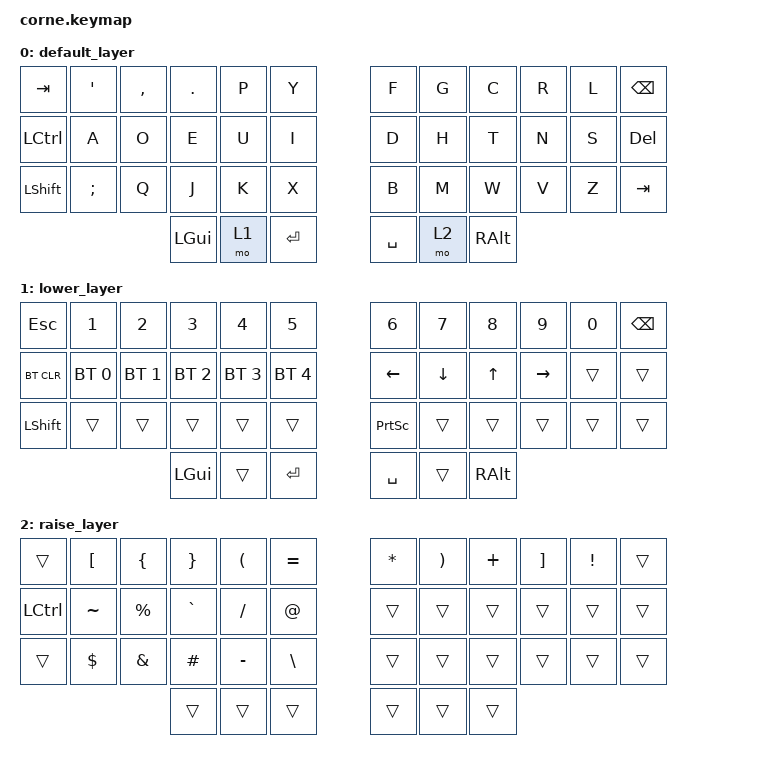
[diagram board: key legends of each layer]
/*
 * Copyright (c) 2020 The ZMK Contributors
 *
 * SPDX-License-Identifier: MIT
 */

#include <behaviors.dtsi>
#include <dt-bindings/zmk/keys.h>
#include <dt-bindings/zmk/bt.h>

/ {
        keymap {
                compatible = "zmk,keymap";

                default_layer {
// -----------------------------------------------------------------------------------------
// |TAB:ESC   | ; : | , < | . > |  P  |  Y  |         | F   |  G   |  C  |  R  |  L  | BKSP |
// | CTRL     |  A  |  O  |  E  |  U  |  I  |         |  D  |  H   |  T  |  N  |  S  |  DEL |
// | LSFT:CAP |' "  | q @ | J   | K   |  X  |         |  B  |  M   |  W  |  V  |  Z  | TAB  |
//                        | GUI | LWR | SPC |         | ENT | RSE  | ALT |
                        bindings = <
   &kp TAB     &kp APOS  &kp COMMA &kp DOT &kp P &kp Y                   &kp F &kp G  &kp C     &kp R   &kp L    &kp BSPC
   &kp LCTRL  &kp A    &kp O   &kp E  &kp U &kp I                   &kp D &kp H  &kp T     &kp N   &kp S    &kp DEL
   &kp LSHIFT  &kp SEMI &kp Q  &kp J  &kp K &kp X                   &kp B &kp M  &kp W     &kp V   &kp Z    &kp TAB
              &kp LGUI &mo 1 &kp RET   &kp SPACE   &mo 2 &kp RALT
                        >;
               };
                lower_layer {
// -----------------------------------------------------------------------------------------
// |  TAB |  1  |  2  |  3  |  4  |  5  |   |  6  |  7  |  8  |  9  |  0  | BKSP |
// | BTCLR| BT1 | BT2 | BT3 | BT4 | BT5 |   | LFT | DWN |  UP | RGT |     |      |
// | SHFT |     |     |     |     |     |   |     |     |     |     |     |      |
//                    | GUI |     | SPC |   | ENT |     | ALT |
                        bindings = <
   &kp ESC    &kp N1       &kp N2       &kp N3       &kp N4       &kp N5         &kp N6   &kp N7   &kp N8 &kp N9    &kp N0 &kp BSPC
   &bt BT_CLR &bt BT_SEL 0 &bt BT_SEL 1 &bt BT_SEL 2 &bt BT_SEL 3 &bt BT_SEL 4   &kp LEFT &kp DOWN &kp UP &kp RIGHT &trans &trans
   &kp LSHFT  &trans       &trans       &trans       &trans       &trans         &kp PSCRN   &trans   &trans &trans    &trans &trans
                                    &kp LGUI     &trans       &kp RET      &kp SPACE  &trans   &kp RALT
                        >;
                };

                raise_layer {
                // -----------------------------------------------------------------------------------------
// |  ESC |  [  |  {  |  }  |  (  |  =  |       |  *  |  )  |  +  |  ]  |  !  | DEL  |
// | CTRL |  ~  |  %  |  `  | / ? | @ ^ |       |     |     |     |     |     |      |
// | SHFT |  $  |  &  |  #  | - _ | \ | |       |     |     |     |     |     |      |
//                    | GUI |     | SPC |       | ENT |     | ALT |
                        bindings = <
   &trans     &kp LBKT    &kp LBRC     &kp RBRC     &kp LPAR    &kp EQUAL       &kp STAR    &kp RPAR  &kp PLUS  &kp RBKT  &kp EXCL   &trans    
   &kp LCTRL  &kp TILDE   &kp PRCNT    &kp GRAVE    &kp SLASH     &kp AT        &trans      &trans    &trans    &trans    &trans     &trans
   &trans     &kp DLLR    &kp AMPS     &kp HASH     &kp MINUS    &kp BACKSLASH         &trans      &trans    &trans    &trans    &trans     &trans
                    	               &trans       &trans      &trans          &trans      &trans    &trans
                        >;
                };
        };
};
